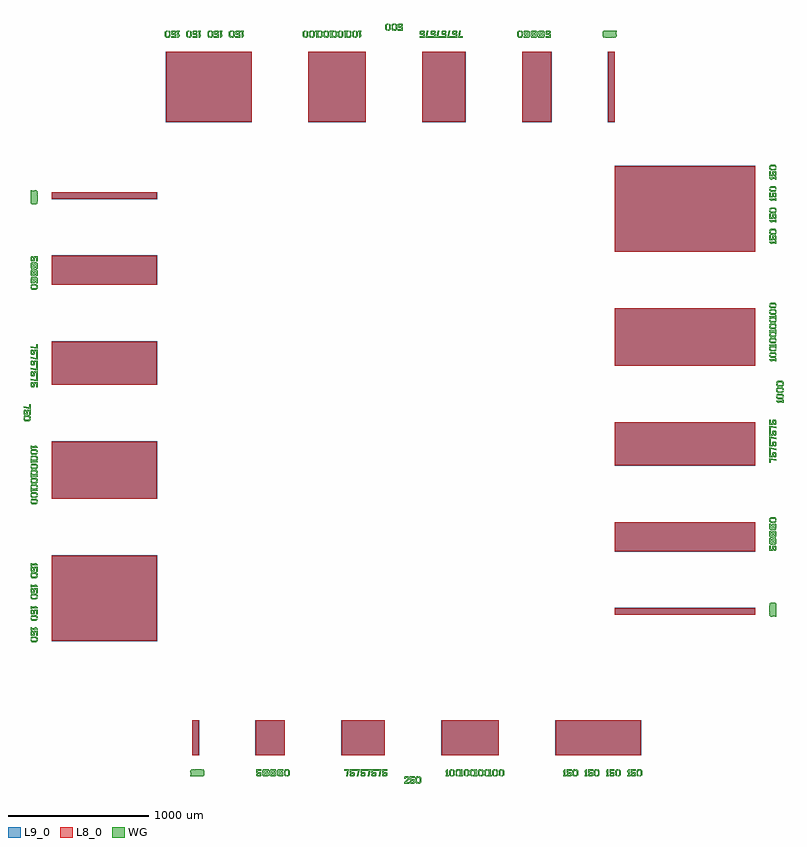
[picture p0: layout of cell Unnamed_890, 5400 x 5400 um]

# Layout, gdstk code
from math import pi, radians
import gdstk
lib = gdstk.Library(unit=1e-6, precision=1e-09)
def R(c, l, rs):  # rectangles x0, y0, x1, y1
    for r in rs: c.add(gdstk.rectangle(r[:2], r[2:], *l))
def P(c, l, *ps):  # polygons
    for p in ps: c.add(gdstk.Polygon(p, *l))
WG = (1, 0)
L8_0 = (8, 0)
L9_0 = (9, 0)

rectangle_s410_1000_l9__ = lib.new_cell('rectangle_S410_1000_L9__d644e350')
R(rectangle_s410_1000_l9__, L9_0, [(0,0,410,1000)])

text_t100_s50_p0_0_jleft = lib.new_cell('text_T100_S50_P0_0_Jleft_L1_0')
P(text_t100_s50_p0_0_jleft, WG, [(48.5,0),(51,10),(55,10),(60,15),(60,35),(55,40),(57.5,50),(60,50),(70,40),(70,10),(60,0)],
  [(93.5,0),(96,10),(100,10),(105,15),(105,35),(100,40),(102.5,50),(105,50),(115,40),(115,10),(105,0)],
  [(40,0),(30,10),(30,40),(40,50),(51.5,50),(49,40),(45,40),(40,35),(40,15),(45,10),(42.5,0)],
  [(85,0),(75,10),(75,40),(85,50),(96.5,50),(94,40),(90,40),(85,35),(85,15),(90,10),(87.5,0)],
  [(5,0),(5,10),(10,10),(10,30),(5,30),(5,40),(15,50),(20,50),(20,10),(25,10),(25,0)])

rectangle_s100_998_l8_0_ = lib.new_cell('rectangle_S100_998_L8_0_c306aa22')
R(rectangle_s100_998_l8_0_, L8_0, [(0,0,100,998)])

unnamed_883 = lib.new_cell('Unnamed_883')
unnamed_883.add(gdstk.Reference(rectangle_s410_1000_l9__, (498,0)))
unnamed_883.add(gdstk.Reference(text_t100_s50_p0_0_jleft, (525,-150)))
unnamed_883.add(gdstk.Reference(text_t100_s50_p0_0_jleft, (627,-150)))
unnamed_883.add(gdstk.Reference(text_t100_s50_p0_0_jleft, (729,-150)))
unnamed_883.add(gdstk.Reference(text_t100_s50_p0_0_jleft, (831,-150)))
unnamed_883.add(gdstk.Reference(rectangle_s100_998_l8_0_, (500,0)))
unnamed_883.add(gdstk.Reference(rectangle_s100_998_l8_0_, (602,0)))
unnamed_883.add(gdstk.Reference(rectangle_s100_998_l8_0_, (704,0)))
unnamed_883.add(gdstk.Reference(rectangle_s100_998_l8_0_, (806,0)))

rectangle_s310_1000_l9__ = lib.new_cell('rectangle_S310_1000_L9__5df5b7dc')
R(rectangle_s310_1000_l9__, L9_0, [(0,0,310,1000)])

text_t75_s50_p0_0_jleft_ = lib.new_cell('text_T75_S50_P0_0_Jleft_L1_0')
P(text_t75_s50_p0_0_jleft_, WG, [(50,0),(45,5),(45,15),(55,15),(55,10),(70,10),(70,20),(50,20),(45,25),(45,50),(80,50),(80,40),(55,40),(55,30),(75,30),(80,25),(80,5),(75,0)],
  [(20,0),(28,40),(5,40),(5,50),(40,50),(30,0)])

rectangle_s75_998_l8_0__ = lib.new_cell('rectangle_S75_998_L8_0__cc8ebacf')
R(rectangle_s75_998_l8_0__, L8_0, [(0,0,75,998)])

unnamed_882 = lib.new_cell('Unnamed_882')
unnamed_882.add(gdstk.Reference(rectangle_s310_1000_l9__, (498,0)))
unnamed_882.add(gdstk.Reference(text_t75_s50_p0_0_jleft_, (512.5,-150)))
unnamed_882.add(gdstk.Reference(text_t75_s50_p0_0_jleft_, (589.5,-150)))
unnamed_882.add(gdstk.Reference(text_t75_s50_p0_0_jleft_, (666.5,-150)))
unnamed_882.add(gdstk.Reference(text_t75_s50_p0_0_jleft_, (743.5,-150)))
unnamed_882.add(gdstk.Reference(rectangle_s75_998_l8_0__, (500,0)))
unnamed_882.add(gdstk.Reference(rectangle_s75_998_l8_0__, (577,0)))
unnamed_882.add(gdstk.Reference(rectangle_s75_998_l8_0__, (654,0)))
unnamed_882.add(gdstk.Reference(rectangle_s75_998_l8_0__, (731,0)))

rectangle_s610_1000_l9__ = lib.new_cell('rectangle_S610_1000_L9__b08154cd')
R(rectangle_s610_1000_l9__, L9_0, [(0,0,610,1000)])

text_t150_s50_p0_0_jleft = lib.new_cell('text_T150_S50_P0_0_Jleft_L1_0')
P(text_t150_s50_p0_0_jleft, WG, [(88.5,0),(91,10),(95,10),(100,15),(100,35),(95,40),(97.5,50),(100,50),(110,40),(110,10),(100,0)],
  [(80,0),(70,10),(70,40),(80,50),(91.5,50),(89,40),(85,40),(80,35),(80,15),(85,10),(82.5,0)],
  [(35,0),(30,5),(30,15),(40,15),(40,10),(55,10),(55,20),(35,20),(30,25),(30,50),(65,50),(65,40),(40,40),(40,30),(60,30),(65,25),(65,5),(60,0)],
  [(5,0),(5,10),(10,10),(10,30),(5,30),(5,40),(15,50),(20,50),(20,10),(25,10),(25,0)])

rectangle_s150_998_l8_0_ = lib.new_cell('rectangle_S150_998_L8_0_cd40ac17')
R(rectangle_s150_998_l8_0_, L8_0, [(0,0,150,998)])

unnamed_884 = lib.new_cell('Unnamed_884')
unnamed_884.add(gdstk.Reference(rectangle_s610_1000_l9__, (498,0)))
unnamed_884.add(gdstk.Reference(text_t150_s50_p0_0_jleft, (550,-150)))
unnamed_884.add(gdstk.Reference(text_t150_s50_p0_0_jleft, (702,-150)))
unnamed_884.add(gdstk.Reference(text_t150_s50_p0_0_jleft, (854,-150)))
unnamed_884.add(gdstk.Reference(text_t150_s50_p0_0_jleft, (1006,-150)))
unnamed_884.add(gdstk.Reference(rectangle_s150_998_l8_0_, (500,0)))
unnamed_884.add(gdstk.Reference(rectangle_s150_998_l8_0_, (652,0)))
unnamed_884.add(gdstk.Reference(rectangle_s150_998_l8_0_, (804,0)))
unnamed_884.add(gdstk.Reference(rectangle_s150_998_l8_0_, (956,0)))

text_t1000_s50_p0_0_jlef = lib.new_cell('text_T1000_S50_P0_0_Jleft_L1_0')
P(text_t1000_s50_p0_0_jlef, WG, [(48.5,0),(51,10),(55,10),(60,15),(60,35),(55,40),(57.5,50),(60,50),(70,40),(70,10),(60,0)],
  [(93.5,0),(96,10),(100,10),(105,15),(105,35),(100,40),(102.5,50),(105,50),(115,40),(115,10),(105,0)],
  [(138.5,0),(141,10),(145,10),(150,15),(150,35),(145,40),(147.5,50),(150,50),(160,40),(160,10),(150,0)],
  [(40,0),(30,10),(30,40),(40,50),(51.5,50),(49,40),(45,40),(40,35),(40,15),(45,10),(42.5,0)],
  [(85,0),(75,10),(75,40),(85,50),(96.5,50),(94,40),(90,40),(85,35),(85,15),(90,10),(87.5,0)],
  [(130,0),(120,10),(120,40),(130,50),(141.5,50),(139,40),(135,40),(130,35),(130,15),(135,10),(132.5,0)],
  [(5,0),(5,10),(10,10),(10,30),(5,30),(5,40),(15,50),(20,50),(20,10),(25,10),(25,0)])

rectangle_s210_1000_l9__ = lib.new_cell('rectangle_S210_1000_L9__2c233f20')
R(rectangle_s210_1000_l9__, L9_0, [(0,0,210,1000)])

text_t50_s50_p0_0_jleft_ = lib.new_cell('text_T50_S50_P0_0_Jleft_L1_0')
P(text_t50_s50_p0_0_jleft_, WG, [(63.5,0),(66,10),(70,10),(75,15),(75,35),(70,40),(72.5,50),(75,50),(85,40),(85,10),(75,0)],
  [(55,0),(45,10),(45,40),(55,50),(66.5,50),(64,40),(60,40),(55,35),(55,15),(60,10),(57.5,0)],
  [(10,0),(5,5),(5,15),(15,15),(15,10),(30,10),(30,20),(10,20),(5,25),(5,50),(40,50),(40,40),(15,40),(15,30),(35,30),(40,25),(40,5),(35,0)])

rectangle_s50_998_l8_0__ = lib.new_cell('rectangle_S50_998_L8_0__a3cc393b')
R(rectangle_s50_998_l8_0__, L8_0, [(0,0,50,998)])

unnamed_881 = lib.new_cell('Unnamed_881')
unnamed_881.add(gdstk.Reference(rectangle_s210_1000_l9__, (498,0)))
unnamed_881.add(gdstk.Reference(text_t50_s50_p0_0_jleft_, (500,-150)))
unnamed_881.add(gdstk.Reference(text_t50_s50_p0_0_jleft_, (552,-150)))
unnamed_881.add(gdstk.Reference(text_t50_s50_p0_0_jleft_, (604,-150)))
unnamed_881.add(gdstk.Reference(text_t50_s50_p0_0_jleft_, (656,-150)))
unnamed_881.add(gdstk.Reference(rectangle_s50_998_l8_0__, (500,0)))
unnamed_881.add(gdstk.Reference(rectangle_s50_998_l8_0__, (552,0)))
unnamed_881.add(gdstk.Reference(rectangle_s50_998_l8_0__, (604,0)))
unnamed_881.add(gdstk.Reference(rectangle_s50_998_l8_0__, (656,0)))

rectangle_s50_1000_l9_0_ = lib.new_cell('rectangle_S50_1000_L9_0_49e40894')
R(rectangle_s50_1000_l9_0_, L9_0, [(0,0,50,1000)])

text_t10_s50_p0_0_jleft_ = lib.new_cell('text_T10_S50_P0_0_Jleft_L1_0')
P(text_t10_s50_p0_0_jleft_, WG, [(48.5,0),(51,10),(55,10),(60,15),(60,35),(55,40),(57.5,50),(60,50),(70,40),(70,10),(60,0)],
  [(40,0),(30,10),(30,40),(40,50),(51.5,50),(49,40),(45,40),(40,35),(40,15),(45,10),(42.5,0)],
  [(5,0),(5,10),(10,10),(10,30),(5,30),(5,40),(15,50),(20,50),(20,10),(25,10),(25,0)])

rectangle_s10_998_l8_0__ = lib.new_cell('rectangle_S10_998_L8_0__618c10ad')
R(rectangle_s10_998_l8_0__, L8_0, [(0,0,10,998)])

unnamed_880 = lib.new_cell('Unnamed_880')
unnamed_880.add(gdstk.Reference(rectangle_s50_1000_l9_0_, (498,0)))
unnamed_880.add(gdstk.Reference(text_t10_s50_p0_0_jleft_, (480,-150)))
unnamed_880.add(gdstk.Reference(text_t10_s50_p0_0_jleft_, (492,-150)))
unnamed_880.add(gdstk.Reference(text_t10_s50_p0_0_jleft_, (504,-150)))
unnamed_880.add(gdstk.Reference(text_t10_s50_p0_0_jleft_, (516,-150)))
unnamed_880.add(gdstk.Reference(rectangle_s10_998_l8_0__, (500,0)))
unnamed_880.add(gdstk.Reference(rectangle_s10_998_l8_0__, (512,0)))
unnamed_880.add(gdstk.Reference(rectangle_s10_998_l8_0__, (524,0)))
unnamed_880.add(gdstk.Reference(rectangle_s10_998_l8_0__, (536,0)))

unnamed_888 = lib.new_cell('Unnamed_888')
unnamed_888.add(gdstk.Reference(unnamed_883, (2270,0)))
unnamed_888.add(gdstk.Reference(unnamed_882, (1560,0)))
unnamed_888.add(gdstk.Reference(unnamed_884, (3080,0)))
unnamed_888.add(gdstk.Reference(text_t1000_s50_p0_0_jlef, (2500,-200)))
unnamed_888.add(gdstk.Reference(unnamed_881, (950,0)))
unnamed_888.add(gdstk.Reference(unnamed_880, (500,0)))

text_t750_s50_p0_0_jleft = lib.new_cell('text_T750_S50_P0_0_Jleft_L1_0')
P(text_t750_s50_p0_0_jleft, WG, [(95,0),(85,10),(85,40),(95,50),(106.5,50),(104,40),(100,40),(95,35),(95,15),(100,10),(97.5,0)],
  [(50,0),(45,5),(45,15),(55,15),(55,10),(70,10),(70,20),(50,20),(45,25),(45,50),(80,50),(80,40),(55,40),(55,30),(75,30),(80,25),(80,5),(75,0)],
  [(103.5,0),(106,10),(110,10),(115,15),(115,35),(110,40),(112.5,50),(115,50),(125,40),(125,10),(115,0)],
  [(20,0),(28,40),(5,40),(5,50),(40,50),(30,0)])

rectangle_s610_750_l9_0_ = lib.new_cell('rectangle_S610_750_L9_0_205fdfa9')
R(rectangle_s610_750_l9_0_, L9_0, [(0,0,610,750)])

rectangle_s150_748_l8_0_ = lib.new_cell('rectangle_S150_748_L8_0_392cc59f')
R(rectangle_s150_748_l8_0_, L8_0, [(0,0,150,748)])

unnamed_879 = lib.new_cell('Unnamed_879')
unnamed_879.add(gdstk.Reference(rectangle_s610_750_l9_0_, (498,0)))
unnamed_879.add(gdstk.Reference(text_t150_s50_p0_0_jleft, (550,-150)))
unnamed_879.add(gdstk.Reference(text_t150_s50_p0_0_jleft, (702,-150)))
unnamed_879.add(gdstk.Reference(text_t150_s50_p0_0_jleft, (854,-150)))
unnamed_879.add(gdstk.Reference(text_t150_s50_p0_0_jleft, (1006,-150)))
unnamed_879.add(gdstk.Reference(rectangle_s150_748_l8_0_, (500,0)))
unnamed_879.add(gdstk.Reference(rectangle_s150_748_l8_0_, (652,0)))
unnamed_879.add(gdstk.Reference(rectangle_s150_748_l8_0_, (804,0)))
unnamed_879.add(gdstk.Reference(rectangle_s150_748_l8_0_, (956,0)))

rectangle_s310_750_l9_0_ = lib.new_cell('rectangle_S310_750_L9_0_978c337f')
R(rectangle_s310_750_l9_0_, L9_0, [(0,0,310,750)])

rectangle_s75_748_l8_0__ = lib.new_cell('rectangle_S75_748_L8_0__21cc7b18')
R(rectangle_s75_748_l8_0__, L8_0, [(0,0,75,748)])

unnamed_877 = lib.new_cell('Unnamed_877')
unnamed_877.add(gdstk.Reference(rectangle_s310_750_l9_0_, (498,0)))
unnamed_877.add(gdstk.Reference(text_t75_s50_p0_0_jleft_, (512.5,-150)))
unnamed_877.add(gdstk.Reference(text_t75_s50_p0_0_jleft_, (589.5,-150)))
unnamed_877.add(gdstk.Reference(text_t75_s50_p0_0_jleft_, (666.5,-150)))
unnamed_877.add(gdstk.Reference(text_t75_s50_p0_0_jleft_, (743.5,-150)))
unnamed_877.add(gdstk.Reference(rectangle_s75_748_l8_0__, (500,0)))
unnamed_877.add(gdstk.Reference(rectangle_s75_748_l8_0__, (577,0)))
unnamed_877.add(gdstk.Reference(rectangle_s75_748_l8_0__, (654,0)))
unnamed_877.add(gdstk.Reference(rectangle_s75_748_l8_0__, (731,0)))

rectangle_s210_750_l9_0_ = lib.new_cell('rectangle_S210_750_L9_0_80ab2e64')
R(rectangle_s210_750_l9_0_, L9_0, [(0,0,210,750)])

rectangle_s50_748_l8_0__ = lib.new_cell('rectangle_S50_748_L8_0__e69bb82a')
R(rectangle_s50_748_l8_0__, L8_0, [(0,0,50,748)])

unnamed_876 = lib.new_cell('Unnamed_876')
unnamed_876.add(gdstk.Reference(rectangle_s210_750_l9_0_, (498,0)))
unnamed_876.add(gdstk.Reference(text_t50_s50_p0_0_jleft_, (500,-150)))
unnamed_876.add(gdstk.Reference(text_t50_s50_p0_0_jleft_, (552,-150)))
unnamed_876.add(gdstk.Reference(text_t50_s50_p0_0_jleft_, (604,-150)))
unnamed_876.add(gdstk.Reference(text_t50_s50_p0_0_jleft_, (656,-150)))
unnamed_876.add(gdstk.Reference(rectangle_s50_748_l8_0__, (500,0)))
unnamed_876.add(gdstk.Reference(rectangle_s50_748_l8_0__, (552,0)))
unnamed_876.add(gdstk.Reference(rectangle_s50_748_l8_0__, (604,0)))
unnamed_876.add(gdstk.Reference(rectangle_s50_748_l8_0__, (656,0)))

rectangle_s410_750_l9_0_ = lib.new_cell('rectangle_S410_750_L9_0_fa67063c')
R(rectangle_s410_750_l9_0_, L9_0, [(0,0,410,750)])

rectangle_s100_748_l8_0_ = lib.new_cell('rectangle_S100_748_L8_0_e52924da')
R(rectangle_s100_748_l8_0_, L8_0, [(0,0,100,748)])

unnamed_878 = lib.new_cell('Unnamed_878')
unnamed_878.add(gdstk.Reference(rectangle_s410_750_l9_0_, (498,0)))
unnamed_878.add(gdstk.Reference(text_t100_s50_p0_0_jleft, (525,-150)))
unnamed_878.add(gdstk.Reference(text_t100_s50_p0_0_jleft, (627,-150)))
unnamed_878.add(gdstk.Reference(text_t100_s50_p0_0_jleft, (729,-150)))
unnamed_878.add(gdstk.Reference(text_t100_s50_p0_0_jleft, (831,-150)))
unnamed_878.add(gdstk.Reference(rectangle_s100_748_l8_0_, (500,0)))
unnamed_878.add(gdstk.Reference(rectangle_s100_748_l8_0_, (602,0)))
unnamed_878.add(gdstk.Reference(rectangle_s100_748_l8_0_, (704,0)))
unnamed_878.add(gdstk.Reference(rectangle_s100_748_l8_0_, (806,0)))

rectangle_s50_750_l9_0__ = lib.new_cell('rectangle_S50_750_L9_0__6a6b90ef')
R(rectangle_s50_750_l9_0__, L9_0, [(0,0,50,750)])

rectangle_s10_748_l8_0__ = lib.new_cell('rectangle_S10_748_L8_0__afdd4900')
R(rectangle_s10_748_l8_0__, L8_0, [(0,0,10,748)])

unnamed_875 = lib.new_cell('Unnamed_875')
unnamed_875.add(gdstk.Reference(rectangle_s50_750_l9_0__, (498,0)))
unnamed_875.add(gdstk.Reference(text_t10_s50_p0_0_jleft_, (480,-150)))
unnamed_875.add(gdstk.Reference(text_t10_s50_p0_0_jleft_, (492,-150)))
unnamed_875.add(gdstk.Reference(text_t10_s50_p0_0_jleft_, (504,-150)))
unnamed_875.add(gdstk.Reference(text_t10_s50_p0_0_jleft_, (516,-150)))
unnamed_875.add(gdstk.Reference(rectangle_s10_748_l8_0__, (500,0)))
unnamed_875.add(gdstk.Reference(rectangle_s10_748_l8_0__, (512,0)))
unnamed_875.add(gdstk.Reference(rectangle_s10_748_l8_0__, (524,0)))
unnamed_875.add(gdstk.Reference(rectangle_s10_748_l8_0__, (536,0)))

unnamed_887 = lib.new_cell('Unnamed_887')
unnamed_887.add(gdstk.Reference(text_t750_s50_p0_0_jleft, (2500,-200)))
unnamed_887.add(gdstk.Reference(unnamed_879, (3080,0)))
unnamed_887.add(gdstk.Reference(unnamed_877, (1560,0)))
unnamed_887.add(gdstk.Reference(unnamed_876, (950,0)))
unnamed_887.add(gdstk.Reference(unnamed_878, (2270,0)))
unnamed_887.add(gdstk.Reference(unnamed_875, (500,0)))

text_t500_s50_p0_0_jleft = lib.new_cell('text_T500_S50_P0_0_Jleft_L1_0')
P(text_t500_s50_p0_0_jleft, WG, [(63.5,0),(66,10),(70,10),(75,15),(75,35),(70,40),(72.5,50),(75,50),(85,40),(85,10),(75,0)],
  [(108.5,0),(111,10),(115,10),(120,15),(120,35),(115,40),(117.5,50),(120,50),(130,40),(130,10),(120,0)],
  [(55,0),(45,10),(45,40),(55,50),(66.5,50),(64,40),(60,40),(55,35),(55,15),(60,10),(57.5,0)],
  [(100,0),(90,10),(90,40),(100,50),(111.5,50),(109,40),(105,40),(100,35),(100,15),(105,10),(102.5,0)],
  [(10,0),(5,5),(5,15),(15,15),(15,10),(30,10),(30,20),(10,20),(5,25),(5,50),(40,50),(40,40),(15,40),(15,30),(35,30),(40,25),(40,5),(35,0)])

rectangle_s310_500_l9_0_ = lib.new_cell('rectangle_S310_500_L9_0_4237744a')
R(rectangle_s310_500_l9_0_, L9_0, [(0,0,310,500)])

rectangle_s75_498_l8_0__ = lib.new_cell('rectangle_S75_498_L8_0__5f6cecd9')
R(rectangle_s75_498_l8_0__, L8_0, [(0,0,75,498)])

unnamed_872 = lib.new_cell('Unnamed_872')
unnamed_872.add(gdstk.Reference(rectangle_s310_500_l9_0_, (498,0)))
unnamed_872.add(gdstk.Reference(text_t75_s50_p0_0_jleft_, (512.5,-150)))
unnamed_872.add(gdstk.Reference(text_t75_s50_p0_0_jleft_, (589.5,-150)))
unnamed_872.add(gdstk.Reference(text_t75_s50_p0_0_jleft_, (666.5,-150)))
unnamed_872.add(gdstk.Reference(text_t75_s50_p0_0_jleft_, (743.5,-150)))
unnamed_872.add(gdstk.Reference(rectangle_s75_498_l8_0__, (500,0)))
unnamed_872.add(gdstk.Reference(rectangle_s75_498_l8_0__, (577,0)))
unnamed_872.add(gdstk.Reference(rectangle_s75_498_l8_0__, (654,0)))
unnamed_872.add(gdstk.Reference(rectangle_s75_498_l8_0__, (731,0)))

rectangle_s610_500_l9_0_ = lib.new_cell('rectangle_S610_500_L9_0_2924ae20')
R(rectangle_s610_500_l9_0_, L9_0, [(0,0,610,500)])

rectangle_s150_498_l8_0_ = lib.new_cell('rectangle_S150_498_L8_0_3344f8a4')
R(rectangle_s150_498_l8_0_, L8_0, [(0,0,150,498)])

unnamed_874 = lib.new_cell('Unnamed_874')
unnamed_874.add(gdstk.Reference(rectangle_s610_500_l9_0_, (498,0)))
unnamed_874.add(gdstk.Reference(text_t150_s50_p0_0_jleft, (550,-150)))
unnamed_874.add(gdstk.Reference(text_t150_s50_p0_0_jleft, (702,-150)))
unnamed_874.add(gdstk.Reference(text_t150_s50_p0_0_jleft, (854,-150)))
unnamed_874.add(gdstk.Reference(text_t150_s50_p0_0_jleft, (1006,-150)))
unnamed_874.add(gdstk.Reference(rectangle_s150_498_l8_0_, (500,0)))
unnamed_874.add(gdstk.Reference(rectangle_s150_498_l8_0_, (652,0)))
unnamed_874.add(gdstk.Reference(rectangle_s150_498_l8_0_, (804,0)))
unnamed_874.add(gdstk.Reference(rectangle_s150_498_l8_0_, (956,0)))

rectangle_s210_500_l9_0_ = lib.new_cell('rectangle_S210_500_L9_0_9d52daf4')
R(rectangle_s210_500_l9_0_, L9_0, [(0,0,210,500)])

rectangle_s50_498_l8_0__ = lib.new_cell('rectangle_S50_498_L8_0__cadecadc')
R(rectangle_s50_498_l8_0__, L8_0, [(0,0,50,498)])

unnamed_871 = lib.new_cell('Unnamed_871')
unnamed_871.add(gdstk.Reference(rectangle_s210_500_l9_0_, (498,0)))
unnamed_871.add(gdstk.Reference(text_t50_s50_p0_0_jleft_, (500,-150)))
unnamed_871.add(gdstk.Reference(text_t50_s50_p0_0_jleft_, (552,-150)))
unnamed_871.add(gdstk.Reference(text_t50_s50_p0_0_jleft_, (604,-150)))
unnamed_871.add(gdstk.Reference(text_t50_s50_p0_0_jleft_, (656,-150)))
unnamed_871.add(gdstk.Reference(rectangle_s50_498_l8_0__, (500,0)))
unnamed_871.add(gdstk.Reference(rectangle_s50_498_l8_0__, (552,0)))
unnamed_871.add(gdstk.Reference(rectangle_s50_498_l8_0__, (604,0)))
unnamed_871.add(gdstk.Reference(rectangle_s50_498_l8_0__, (656,0)))

rectangle_s410_500_l9_0_ = lib.new_cell('rectangle_S410_500_L9_0_356fd5f5')
R(rectangle_s410_500_l9_0_, L9_0, [(0,0,410,500)])

rectangle_s100_498_l8_0_ = lib.new_cell('rectangle_S100_498_L8_0_8e44272a')
R(rectangle_s100_498_l8_0_, L8_0, [(0,0,100,498)])

unnamed_873 = lib.new_cell('Unnamed_873')
unnamed_873.add(gdstk.Reference(rectangle_s410_500_l9_0_, (498,0)))
unnamed_873.add(gdstk.Reference(text_t100_s50_p0_0_jleft, (525,-150)))
unnamed_873.add(gdstk.Reference(text_t100_s50_p0_0_jleft, (627,-150)))
unnamed_873.add(gdstk.Reference(text_t100_s50_p0_0_jleft, (729,-150)))
unnamed_873.add(gdstk.Reference(text_t100_s50_p0_0_jleft, (831,-150)))
unnamed_873.add(gdstk.Reference(rectangle_s100_498_l8_0_, (500,0)))
unnamed_873.add(gdstk.Reference(rectangle_s100_498_l8_0_, (602,0)))
unnamed_873.add(gdstk.Reference(rectangle_s100_498_l8_0_, (704,0)))
unnamed_873.add(gdstk.Reference(rectangle_s100_498_l8_0_, (806,0)))

rectangle_s50_500_l9_0__ = lib.new_cell('rectangle_S50_500_L9_0__e85c1ad9')
R(rectangle_s50_500_l9_0__, L9_0, [(0,0,50,500)])

rectangle_s10_498_l8_0__ = lib.new_cell('rectangle_S10_498_L8_0__ad3ec932')
R(rectangle_s10_498_l8_0__, L8_0, [(0,0,10,498)])

unnamed_870 = lib.new_cell('Unnamed_870')
unnamed_870.add(gdstk.Reference(rectangle_s50_500_l9_0__, (498,0)))
unnamed_870.add(gdstk.Reference(text_t10_s50_p0_0_jleft_, (480,-150)))
unnamed_870.add(gdstk.Reference(text_t10_s50_p0_0_jleft_, (492,-150)))
unnamed_870.add(gdstk.Reference(text_t10_s50_p0_0_jleft_, (504,-150)))
unnamed_870.add(gdstk.Reference(text_t10_s50_p0_0_jleft_, (516,-150)))
unnamed_870.add(gdstk.Reference(rectangle_s10_498_l8_0__, (500,0)))
unnamed_870.add(gdstk.Reference(rectangle_s10_498_l8_0__, (512,0)))
unnamed_870.add(gdstk.Reference(rectangle_s10_498_l8_0__, (524,0)))
unnamed_870.add(gdstk.Reference(rectangle_s10_498_l8_0__, (536,0)))

unnamed_886 = lib.new_cell('Unnamed_886')
unnamed_886.add(gdstk.Reference(text_t500_s50_p0_0_jleft, (2500,-200)))
unnamed_886.add(gdstk.Reference(unnamed_872, (1560,0)))
unnamed_886.add(gdstk.Reference(unnamed_874, (3080,0)))
unnamed_886.add(gdstk.Reference(unnamed_871, (950,0)))
unnamed_886.add(gdstk.Reference(unnamed_873, (2270,0)))
unnamed_886.add(gdstk.Reference(unnamed_870, (500,0)))

unnamed_889 = lib.new_cell('Unnamed_889')

rectangle_s310_250_l9_0_ = lib.new_cell('rectangle_S310_250_L9_0_fe7d9e96')
R(rectangle_s310_250_l9_0_, L9_0, [(0,0,310,250)])

rectangle_s75_248_l8_0__ = lib.new_cell('rectangle_S75_248_L8_0__2b17ab04')
R(rectangle_s75_248_l8_0__, L8_0, [(0,0,75,248)])

unnamed_867 = lib.new_cell('Unnamed_867')
unnamed_867.add(gdstk.Reference(rectangle_s310_250_l9_0_, (498,0)))
unnamed_867.add(gdstk.Reference(text_t75_s50_p0_0_jleft_, (512.5,-150)))
unnamed_867.add(gdstk.Reference(text_t75_s50_p0_0_jleft_, (589.5,-150)))
unnamed_867.add(gdstk.Reference(text_t75_s50_p0_0_jleft_, (666.5,-150)))
unnamed_867.add(gdstk.Reference(text_t75_s50_p0_0_jleft_, (743.5,-150)))
unnamed_867.add(gdstk.Reference(rectangle_s75_248_l8_0__, (500,0)))
unnamed_867.add(gdstk.Reference(rectangle_s75_248_l8_0__, (577,0)))
unnamed_867.add(gdstk.Reference(rectangle_s75_248_l8_0__, (654,0)))
unnamed_867.add(gdstk.Reference(rectangle_s75_248_l8_0__, (731,0)))

rectangle_s610_250_l9_0_ = lib.new_cell('rectangle_S610_250_L9_0_b3f54b2f')
R(rectangle_s610_250_l9_0_, L9_0, [(0,0,610,250)])

rectangle_s150_248_l8_0_ = lib.new_cell('rectangle_S150_248_L8_0_45914063')
R(rectangle_s150_248_l8_0_, L8_0, [(0,0,150,248)])

unnamed_869 = lib.new_cell('Unnamed_869')
unnamed_869.add(gdstk.Reference(rectangle_s610_250_l9_0_, (498,0)))
unnamed_869.add(gdstk.Reference(text_t150_s50_p0_0_jleft, (550,-150)))
unnamed_869.add(gdstk.Reference(text_t150_s50_p0_0_jleft, (702,-150)))
unnamed_869.add(gdstk.Reference(text_t150_s50_p0_0_jleft, (854,-150)))
unnamed_869.add(gdstk.Reference(text_t150_s50_p0_0_jleft, (1006,-150)))
unnamed_869.add(gdstk.Reference(rectangle_s150_248_l8_0_, (500,0)))
unnamed_869.add(gdstk.Reference(rectangle_s150_248_l8_0_, (652,0)))
unnamed_869.add(gdstk.Reference(rectangle_s150_248_l8_0_, (804,0)))
unnamed_869.add(gdstk.Reference(rectangle_s150_248_l8_0_, (956,0)))

rectangle_s210_250_l9_0_ = lib.new_cell('rectangle_S210_250_L9_0_89861d4c')
R(rectangle_s210_250_l9_0_, L9_0, [(0,0,210,250)])

rectangle_s50_248_l8_0__ = lib.new_cell('rectangle_S50_248_L8_0__6a217ae2')
R(rectangle_s50_248_l8_0__, L8_0, [(0,0,50,248)])

unnamed_866 = lib.new_cell('Unnamed_866')
unnamed_866.add(gdstk.Reference(rectangle_s210_250_l9_0_, (498,0)))
unnamed_866.add(gdstk.Reference(text_t50_s50_p0_0_jleft_, (500,-150)))
unnamed_866.add(gdstk.Reference(text_t50_s50_p0_0_jleft_, (552,-150)))
unnamed_866.add(gdstk.Reference(text_t50_s50_p0_0_jleft_, (604,-150)))
unnamed_866.add(gdstk.Reference(text_t50_s50_p0_0_jleft_, (656,-150)))
unnamed_866.add(gdstk.Reference(rectangle_s50_248_l8_0__, (500,0)))
unnamed_866.add(gdstk.Reference(rectangle_s50_248_l8_0__, (552,0)))
unnamed_866.add(gdstk.Reference(rectangle_s50_248_l8_0__, (604,0)))
unnamed_866.add(gdstk.Reference(rectangle_s50_248_l8_0__, (656,0)))

rectangle_s410_250_l9_0_ = lib.new_cell('rectangle_S410_250_L9_0_d3666667')
R(rectangle_s410_250_l9_0_, L9_0, [(0,0,410,250)])

rectangle_s100_248_l8_0_ = lib.new_cell('rectangle_S100_248_L8_0_ec6efe2a')
R(rectangle_s100_248_l8_0_, L8_0, [(0,0,100,248)])

unnamed_868 = lib.new_cell('Unnamed_868')
unnamed_868.add(gdstk.Reference(rectangle_s410_250_l9_0_, (498,0)))
unnamed_868.add(gdstk.Reference(text_t100_s50_p0_0_jleft, (525,-150)))
unnamed_868.add(gdstk.Reference(text_t100_s50_p0_0_jleft, (627,-150)))
unnamed_868.add(gdstk.Reference(text_t100_s50_p0_0_jleft, (729,-150)))
unnamed_868.add(gdstk.Reference(text_t100_s50_p0_0_jleft, (831,-150)))
unnamed_868.add(gdstk.Reference(rectangle_s100_248_l8_0_, (500,0)))
unnamed_868.add(gdstk.Reference(rectangle_s100_248_l8_0_, (602,0)))
unnamed_868.add(gdstk.Reference(rectangle_s100_248_l8_0_, (704,0)))
unnamed_868.add(gdstk.Reference(rectangle_s100_248_l8_0_, (806,0)))

text_t250_s50_p0_0_jleft = lib.new_cell('text_T250_S50_P0_0_Jleft_L1_0')
P(text_t250_s50_p0_0_jleft, WG, [(95,0),(85,10),(85,40),(95,50),(106.5,50),(104,40),(100,40),(95,35),(95,15),(100,10),(97.5,0)],
  [(50,0),(45,5),(45,15),(55,15),(55,10),(70,10),(70,20),(50,20),(45,25),(45,50),(80,50),(80,40),(55,40),(55,30),(75,30),(80,25),(80,5),(75,0)],
  [(103.5,0),(106,10),(110,10),(115,15),(115,35),(110,40),(112.5,50),(115,50),(125,40),(125,10),(115,0)],
  [(5,0),(5,10),(30,35),(30,40),(15,40),(15,35),(5,35),(5,45),(10,50),(35,50),(40,45),(40,30),(20,10),(40,10),(40,0)])

rectangle_s50_250_l9_0__ = lib.new_cell('rectangle_S50_250_L9_0__7cc5cbb5')
R(rectangle_s50_250_l9_0__, L9_0, [(0,0,50,250)])

rectangle_s10_248_l8_0__ = lib.new_cell('rectangle_S10_248_L8_0__7390707e')
R(rectangle_s10_248_l8_0__, L8_0, [(0,0,10,248)])

unnamed_865 = lib.new_cell('Unnamed_865')
unnamed_865.add(gdstk.Reference(rectangle_s50_250_l9_0__, (498,0)))
unnamed_865.add(gdstk.Reference(text_t10_s50_p0_0_jleft_, (480,-150)))
unnamed_865.add(gdstk.Reference(text_t10_s50_p0_0_jleft_, (492,-150)))
unnamed_865.add(gdstk.Reference(text_t10_s50_p0_0_jleft_, (504,-150)))
unnamed_865.add(gdstk.Reference(text_t10_s50_p0_0_jleft_, (516,-150)))
unnamed_865.add(gdstk.Reference(rectangle_s10_248_l8_0__, (500,0)))
unnamed_865.add(gdstk.Reference(rectangle_s10_248_l8_0__, (512,0)))
unnamed_865.add(gdstk.Reference(rectangle_s10_248_l8_0__, (524,0)))
unnamed_865.add(gdstk.Reference(rectangle_s10_248_l8_0__, (536,0)))

unnamed_885 = lib.new_cell('Unnamed_885')
unnamed_885.add(gdstk.Reference(unnamed_867, (1560,0)))
unnamed_885.add(gdstk.Reference(unnamed_869, (3080,0)))
unnamed_885.add(gdstk.Reference(unnamed_866, (950,0)))
unnamed_885.add(gdstk.Reference(unnamed_868, (2270,0)))
unnamed_885.add(gdstk.Reference(text_t250_s50_p0_0_jleft, (2500,-200)))
unnamed_885.add(gdstk.Reference(unnamed_865, (500,0)))

unnamed_890 = lib.new_cell('Unnamed_890')
unnamed_890.add(gdstk.Reference(unnamed_888, (5000,0), rotation=pi/2))
unnamed_890.add(gdstk.Reference(unnamed_887, (0,5000), rotation=3*pi/2))
unnamed_890.add(gdstk.Reference(unnamed_886, (5000,5000), rotation=pi))
unnamed_890.add(gdstk.Reference(unnamed_889, (5000,0), rotation=pi/2))
unnamed_890.add(gdstk.Reference(unnamed_885, (0,0)))

lib.write_gds('Unnamed_890.gds')
